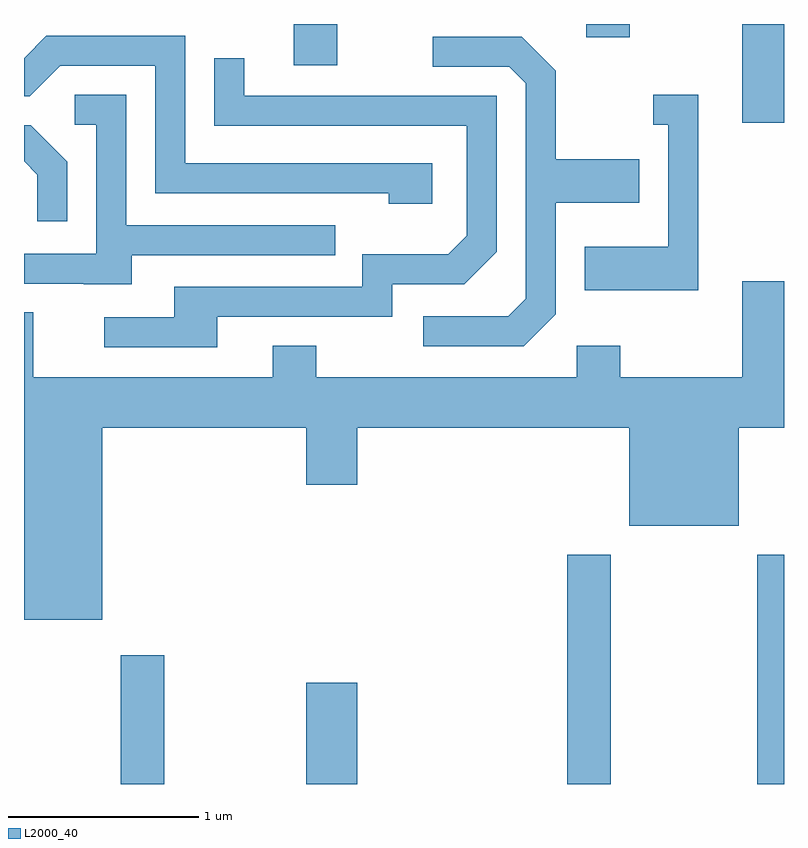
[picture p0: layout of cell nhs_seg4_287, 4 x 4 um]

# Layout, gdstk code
import gdstk
lib = gdstk.Library(unit=1e-6, precision=1e-09)
def R(c, l, rs):  # rectangles x0, y0, x1, y1
    for r in rs: c.add(gdstk.rectangle(r[:2], r[2:], *l))
def P(c, l, *ps):  # polygons
    for p in ps: c.add(gdstk.Polygon(p, *l))
L2000_40 = (2000, 40)

nhs_seg4_287 = lib.new_cell('nhs_seg4_287')
R(nhs_seg4_287, L2000_40, [(194.121,1283.982,194.349,1284.659), (195.096,1283.982,195.364,1284.514), (196.471,1283.982,196.699,1285.189), (197.471,1283.982,197.611,1285.189), (197.391,1287.461,197.611,1287.982), (195.031,1287.766,195.259,1287.982), (196.571,1287.911,196.799,1287.982)])
P(nhs_seg4_287, L2000_40, [(195.759,1287.249),(194.459,1287.249),(194.459,1287.919),(193.729,1287.919),(193.611,1287.801),(193.611,1287.601),(193.642,1287.601),(193.802,1287.761),(194.301,1287.761),(194.301,1287.091),(195.531,1287.091),(195.531,1287.036),(195.759,1287.036)],
  [(196.409,1286.454),(196.409,1287.041),(196.849,1287.041),(196.849,1287.269),(196.409,1287.269),(196.409,1287.737),(196.232,1287.914),(195.763,1287.914),(195.763,1287.756),(196.164,1287.756),(196.251,1287.669),(196.251,1286.537),(196.159,1286.444),(195.713,1286.444),(195.713,1286.286),(196.242,1286.286)],
  [(194.629,1286.441),(195.549,1286.441),(195.549,1286.611),(195.927,1286.611),(196.099,1286.784),(196.099,1287.604),(194.769,1287.604),(194.769,1287.803),(194.611,1287.803),(194.611,1287.446),(195.941,1287.446),(195.941,1286.867),(195.844,1286.769),(195.391,1286.769),(195.391,1286.599),(194.401,1286.599),(194.401,1286.439),(194.033,1286.439),(194.033,1286.281),(194.629,1286.281)],
  [(194.179,1286.766),(195.248,1286.766),(195.248,1286.924),(194.149,1286.924),(194.149,1287.609),(193.878,1287.609),(193.878,1287.451),(193.991,1287.451),(193.991,1286.774),(193.611,1286.774),(193.611,1286.616),(193.925,1286.616),(193.925,1286.611),(194.179,1286.611)],
  [(197.159,1287.609),(196.923,1287.609),(196.923,1287.451),(197.001,1287.451),(197.001,1286.809),(196.561,1286.809),(196.561,1286.581),(197.159,1286.581)],
  [(193.839,1287.257),(193.647,1287.449),(193.611,1287.449),(193.611,1287.259),(193.681,1287.189),(193.681,1286.943),(193.839,1286.943)],
  [(194.024,1285.856),(195.096,1285.856),(195.096,1285.556),(195.364,1285.556),(195.364,1285.856),(196.796,1285.856),(196.796,1285.341),(197.374,1285.341),(197.374,1285.856),(197.611,1285.856),(197.611,1286.629),(197.391,1286.629),(197.391,1286.124),(196.749,1286.124),(196.749,1286.289),(196.521,1286.289),(196.521,1286.124),(195.149,1286.124),(195.149,1286.289),(194.921,1286.289),(194.921,1286.124),(193.659,1286.124),(193.659,1286.464),(193.611,1286.464),(193.611,1284.846),(194.024,1284.846)])

lib.write_gds('nhs_seg4_287.gds')
